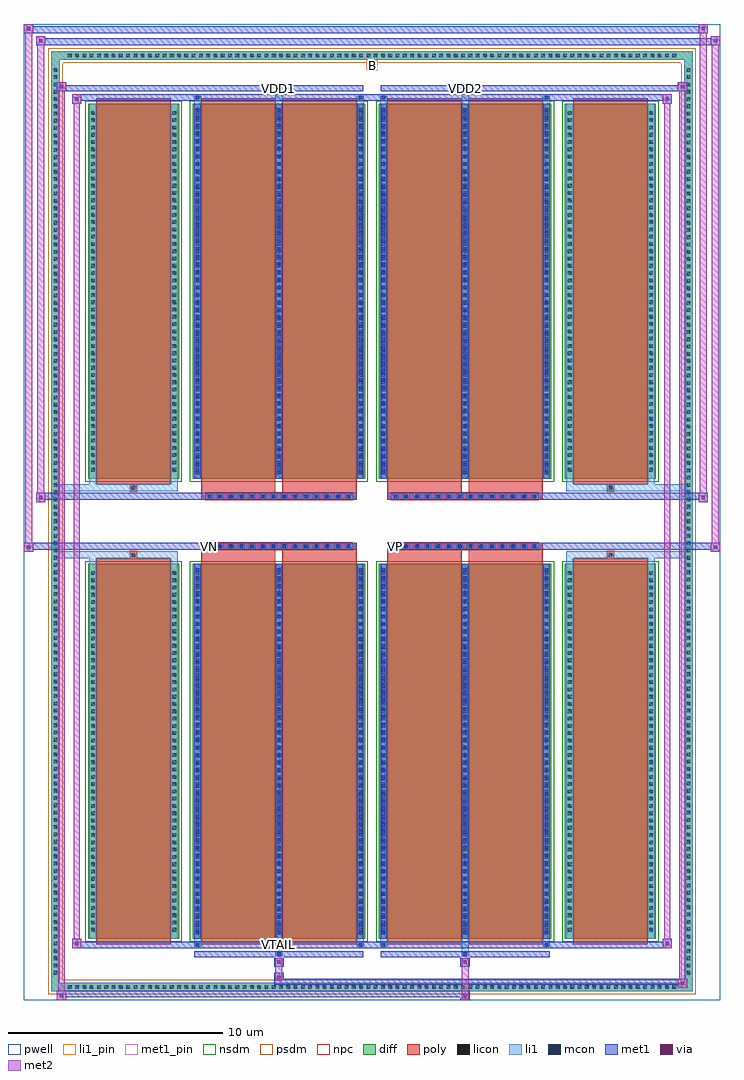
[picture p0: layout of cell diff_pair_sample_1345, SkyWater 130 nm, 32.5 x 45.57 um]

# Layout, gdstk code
import gdstk
lib = gdstk.Library(unit=1e-6, precision=5e-09)
def R(c, l, rs):  # rectangles x0, y0, x1, y1
    for r in rs: c.add(gdstk.rectangle(r[:2], r[2:], *l))
def A(c, l, x, y, w, h, nx, ny, dx, dy):  # array of equal rectangles
    R(c, l, [(x+i*dx, y+j*dy, x+i*dx+w, y+j*dy+h) for i in range(nx) for j in range(ny)])
def P(c, l, *ps):  # polygons
    for p in ps: c.add(gdstk.Polygon(p, *l))
pwell = (64, 44)
diff = (65, 20)
poly = (66, 20)
licon = (66, 44)
li1_pin = (67, 16)
li1 = (67, 20)
mcon = (67, 44)
met1_pin = (68, 16)
met1 = (68, 20)
via = (68, 44)
met2 = (69, 20)
nsdm = (93, 44)
psdm = (94, 20)
npc = (95, 20)

diff_pair_sample_1345 = lib.new_cell('diff_pair_sample_1345')
R(diff_pair_sample_1345, pwell, [(-16.25,-22.35,16.25,23.22), (-13.57,-20.54,-0.01,-0.8), (0.01,-20.54,13.57,-0.8), (-13.57,0.8,-0.01,20.54), (0.01,0.8,13.57,20.54)])
A(diff_pair_sample_1345, diff, -14.315, -21.95, 0.41, 0.41, 84, 2, 0.34, 43.49)
A(diff_pair_sample_1345, diff, -14.98, -21.285, 0.41, 0.41, 1, 125, 0, 0.34)
A(diff_pair_sample_1345, diff, 14.57, -21.285, 0.41, 0.41, 1, 125, 0, 0.34)
R(diff_pair_sample_1345, diff, [(-14.315,-21.95,14.315,-21.54), (-14.98,-21.285,-14.57,21.285), (14.57,-21.285,14.98,21.285), (-13.26,-19.495,-9.01,-1.985), (-8.37,-19.495,-0.32,-1.985), (0.32,-19.495,8.37,-1.985), (9.01,-19.495,13.26,-1.985), (-13.26,1.985,-9.01,19.495), (-8.37,1.985,-0.32,19.495), (0.32,1.985,8.37,19.495), (9.01,1.985,13.26,19.495), (-14.315,21.54,14.315,21.95)])
P(diff_pair_sample_1345, diff, [(14.98,21.95),(-14.98,21.95),(-14.98,-21.54),(-14.57,-21.54),(-14.57,21.54),(14.57,21.54),(14.57,-21.54),(-14.57,-21.54),(-14.98,-21.54),(-14.98,-21.95),(14.98,-21.95)])
A(diff_pair_sample_1345, poly, -7.76, -1.33, 0.33, 0.33, 14, 2, 0.5, 2.33)
A(diff_pair_sample_1345, poly, 0.93, -1.33, 0.33, 0.33, 14, 2, 0.5, 2.33)
R(diff_pair_sample_1345, poly, [(-12.87,-19.745,-9.4,-1.735), (-7.98,-19.745,-4.51,-1.735), (-4.18,-19.745,-0.71,-1.735), (0.71,-19.745,4.18,-1.735), (4.51,-19.745,7.98,-1.735), (9.4,-19.745,12.87,-1.735), (-11.3,-1.735,-10.97,-1.405), (-11.3,-1.735,-10.97,-1.405), (-7.98,-1.735,-4.51,-1.33), (-4.18,-1.735,-0.71,-1.33), (0.71,-1.735,4.18,-1.33), (4.51,-1.735,7.98,-1.33), (10.97,-1.735,11.3,-1.405), (10.97,-1.735,11.3,-1.405), (-7.98,-1.33,-0.71,-1), (0.71,-1.33,7.98,-1), (-7.98,1,-0.71,1.33), (0.71,1,7.98,1.33), (-7.98,1.33,-4.51,1.735), (-4.18,1.33,-0.71,1.735), (0.71,1.33,4.18,1.735), (4.51,1.33,7.98,1.735), (-11.3,1.405,-10.97,1.735), (-11.3,1.405,-10.97,1.735), (10.97,1.405,11.3,1.735), (10.97,1.405,11.3,1.735), (-12.87,1.735,-9.4,19.745), (-7.98,1.735,-4.51,19.745), (-4.18,1.735,-0.71,19.745), (0.71,1.735,4.18,19.745), (4.51,1.735,7.98,19.745), (9.4,1.735,12.87,19.745)])
A(diff_pair_sample_1345, licon, -14.195, -21.83, 0.17, 0.17, 84, 2, 0.34, 43.49)
A(diff_pair_sample_1345, licon, -14.86, -21.165, 0.17, 0.17, 1, 125, 0, 0.34)
A(diff_pair_sample_1345, licon, 14.69, -21.165, 0.17, 0.17, 1, 125, 0, 0.34)
A(diff_pair_sample_1345, licon, -13.12, -19.155, 0.17, 0.17, 1, 50, 0, 0.34)
A(diff_pair_sample_1345, licon, -9.32, -19.155, 0.17, 0.17, 1, 50, 0, 0.34)
A(diff_pair_sample_1345, licon, -8.23, -19.155, 0.17, 0.17, 3, 50, 3.8, 0.34)
A(diff_pair_sample_1345, licon, 0.46, -19.155, 0.17, 0.17, 3, 50, 3.8, 0.34)
A(diff_pair_sample_1345, licon, 9.15, -19.155, 0.17, 0.17, 1, 50, 0, 0.34)
A(diff_pair_sample_1345, licon, 12.95, -19.155, 0.17, 0.17, 1, 50, 0, 0.34)
A(diff_pair_sample_1345, licon, -7.68, -1.25, 0.17, 0.17, 14, 2, 0.5, 2.33)
A(diff_pair_sample_1345, licon, 1.01, -1.25, 0.17, 0.17, 14, 2, 0.5, 2.33)
A(diff_pair_sample_1345, licon, -13.12, 2.325, 0.17, 0.17, 1, 50, 0, 0.34)
A(diff_pair_sample_1345, licon, -9.32, 2.325, 0.17, 0.17, 1, 50, 0, 0.34)
A(diff_pair_sample_1345, licon, -8.23, 2.325, 0.17, 0.17, 3, 50, 3.8, 0.34)
A(diff_pair_sample_1345, licon, 0.46, 2.325, 0.17, 0.17, 3, 50, 3.8, 0.34)
A(diff_pair_sample_1345, licon, 9.15, 2.325, 0.17, 0.17, 1, 50, 0, 0.34)
A(diff_pair_sample_1345, licon, 12.95, 2.325, 0.17, 0.17, 1, 50, 0, 0.34)
R(diff_pair_sample_1345, licon, [(-11.22,-1.655,-11.05,-1.485), (11.05,-1.655,11.22,-1.485), (-11.22,1.485,-11.05,1.655), (11.05,1.485,11.22,1.655)])
R(diff_pair_sample_1345, li1_pin, [(-0.25,21.04,0.25,21.54)])
A(diff_pair_sample_1345, li1, -14.275, -21.91, 0.33, 0.33, 84, 2, 0.34, 43.49)
A(diff_pair_sample_1345, li1, -14.94, -21.245, 0.33, 0.33, 1, 125, 0, 0.34)
A(diff_pair_sample_1345, li1, 14.61, -21.245, 0.33, 0.33, 1, 125, 0, 0.34)
A(diff_pair_sample_1345, li1, -8.31, -19.495, 0.33, 17.51, 3, 2, 3.8, 21.48)
A(diff_pair_sample_1345, li1, 0.38, -19.495, 0.33, 17.51, 3, 2, 3.8, 21.48)
A(diff_pair_sample_1345, li1, -8.23, -19.285, 0.17, 0.17, 3, 48, 3.8, 0.36)
A(diff_pair_sample_1345, li1, -8.23, -19.285, 0.17, 17.09, 3, 2, 3.8, 21.48)
A(diff_pair_sample_1345, li1, 0.46, -19.285, 0.17, 0.17, 3, 48, 3.8, 0.36)
A(diff_pair_sample_1345, li1, 0.46, -19.285, 0.17, 17.09, 3, 2, 3.8, 21.48)
A(diff_pair_sample_1345, li1, -13.2, -19.235, 0.33, 0.33, 1, 50, 0, 0.34)
A(diff_pair_sample_1345, li1, -9.4, -19.235, 0.33, 0.33, 1, 50, 0, 0.34)
A(diff_pair_sample_1345, li1, -8.31, -19.235, 0.33, 0.33, 3, 50, 3.8, 0.34)
A(diff_pair_sample_1345, li1, 0.38, -19.235, 0.33, 0.33, 3, 50, 3.8, 0.34)
A(diff_pair_sample_1345, li1, 9.07, -19.235, 0.33, 0.33, 1, 50, 0, 0.34)
A(diff_pair_sample_1345, li1, 12.87, -19.235, 0.33, 0.33, 1, 50, 0, 0.34)
A(diff_pair_sample_1345, li1, -7.76, -1.33, 0.33, 0.33, 14, 2, 0.5, 2.33)
A(diff_pair_sample_1345, li1, 0.93, -1.33, 0.33, 0.33, 14, 2, 0.5, 2.33)
A(diff_pair_sample_1345, li1, -8.23, 2.195, 0.17, 0.17, 3, 48, 3.8, 0.36)
A(diff_pair_sample_1345, li1, 0.46, 2.195, 0.17, 0.17, 3, 48, 3.8, 0.36)
A(diff_pair_sample_1345, li1, -13.2, 2.245, 0.33, 0.33, 1, 50, 0, 0.34)
A(diff_pair_sample_1345, li1, -9.4, 2.245, 0.33, 0.33, 1, 50, 0, 0.34)
A(diff_pair_sample_1345, li1, -8.31, 2.245, 0.33, 0.33, 3, 50, 3.8, 0.34)
A(diff_pair_sample_1345, li1, 0.38, 2.245, 0.33, 0.33, 3, 50, 3.8, 0.34)
A(diff_pair_sample_1345, li1, 9.07, 2.245, 0.33, 0.33, 1, 50, 0, 0.34)
A(diff_pair_sample_1345, li1, 12.87, 2.245, 0.33, 0.33, 1, 50, 0, 0.34)
R(diff_pair_sample_1345, li1, [(-14.98,-21.95,-14.57,-21.54), (-14.98,-21.95,-14.57,-21.54), (-14.57,-21.95,14.57,-21.54), (14.57,-21.95,14.98,-21.54), (14.57,-21.95,14.98,-21.54), (-14.98,-21.54,-14.57,21.54), (14.57,-21.54,14.98,21.54), (-4.51,-20.3,-4.18,-19.495), (-4.43,-20.3,-4.26,-20.13), (4.18,-20.3,4.51,-19.495), (4.26,-20.3,4.43,-20.13), (-8.31,-19.87,-7.98,-19.495), (-8.23,-19.87,-8.06,-19.7), (-0.71,-19.87,-0.38,-19.495), (-0.63,-19.87,-0.46,-19.7), (0.38,-19.87,0.71,-19.495), (0.46,-19.87,0.63,-19.7), (7.98,-19.87,8.31,-19.495), (8.06,-19.87,8.23,-19.7), (-13.2,-19.495,-12.87,-1.985), (-9.4,-19.495,-9.07,-1.985), (9.07,-19.495,9.4,-1.985), (12.87,-19.495,13.2,-1.985), (-13.2,-1.985,-12.87,-1.405), (-9.4,-1.985,-9.07,-1.405), (9.07,-1.985,9.4,-1.405), (12.87,-1.985,13.2,-1.405), (-14.98,-1.735,-11.3,-1.405), (-13.2,-1.735,-11.3,-1.405), (-11.3,-1.735,-10.97,-1.405), (-10.97,-1.735,-9.07,-1.405), (9.07,-1.735,10.97,-1.405), (10.97,-1.735,11.3,-1.405), (10.97,-1.735,14.98,-1.405), (11.3,-1.735,13.2,-1.405), (-14.98,1.405,-11.3,1.735), (-13.2,1.405,-11.3,1.735), (-13.2,1.405,-12.87,1.985), (-11.3,1.405,-10.97,1.735), (-10.97,1.405,-9.07,1.735), (-9.4,1.405,-9.07,1.985), (9.07,1.405,10.97,1.735), (9.07,1.405,9.4,1.985), (10.97,1.405,11.3,1.735), (10.97,1.405,14.98,1.735), (11.3,1.405,13.2,1.735), (12.87,1.405,13.2,1.985), (-13.2,1.985,-12.87,19.495), (-9.4,1.985,-9.07,19.495), (9.07,1.985,9.4,19.495), (12.87,1.985,13.2,19.495), (-8.31,19.495,-7.98,19.87), (-4.51,19.495,-4.18,20.3), (-0.71,19.495,-0.38,19.87), (0.38,19.495,0.71,19.87), (4.18,19.495,4.51,20.3), (7.98,19.495,8.31,19.87), (-8.23,19.7,-8.06,19.87), (-0.63,19.7,-0.46,19.87), (0.46,19.7,0.63,19.87), (8.06,19.7,8.23,19.87), (-4.43,20.13,-4.26,20.3), (4.26,20.13,4.43,20.3), (-14.98,21.54,-14.57,21.95), (-14.98,21.54,-14.57,21.95), (-14.57,21.54,14.57,21.95), (14.57,21.54,14.98,21.95), (14.57,21.54,14.98,21.95)])
A(diff_pair_sample_1345, mcon, -8.23, -19.285, 0.17, 0.17, 3, 48, 3.8, 0.36)
A(diff_pair_sample_1345, mcon, 0.46, -19.285, 0.17, 0.17, 3, 48, 3.8, 0.36)
A(diff_pair_sample_1345, mcon, -7.68, -1.25, 0.17, 0.17, 14, 2, 0.5, 2.33)
A(diff_pair_sample_1345, mcon, 1.01, -1.25, 0.17, 0.17, 14, 2, 0.5, 2.33)
A(diff_pair_sample_1345, mcon, -8.23, 2.195, 0.17, 0.17, 3, 48, 3.8, 0.36)
A(diff_pair_sample_1345, mcon, 0.46, 2.195, 0.17, 0.17, 3, 48, 3.8, 0.36)
R(diff_pair_sample_1345, mcon, [(-4.43,-20.3,-4.26,-20.13), (4.26,-20.3,4.43,-20.13), (-8.23,-19.87,-8.06,-19.7), (-0.63,-19.87,-0.46,-19.7), (0.46,-19.87,0.63,-19.7), (8.06,-19.87,8.23,-19.7), (-8.23,19.7,-8.06,19.87), (-0.63,19.7,-0.46,19.87), (0.46,19.7,0.63,19.87), (8.06,19.7,8.23,19.87), (-4.43,20.13,-4.26,20.3), (4.26,20.13,4.43,20.3)])
R(diff_pair_sample_1345, met1_pin, [(-4.48,-19.91,-4.21,-19.64), (-7.73,-1.29,-7.46,-1.02), (0.96,-1.29,1.23,-1.02), (-4.48,20.09,-4.21,20.36), (4.21,20.09,4.48,20.36)])
A(diff_pair_sample_1345, met1, -8.29, -19.495, 0.29, 17.51, 3, 2, 3.8, 21.48)
A(diff_pair_sample_1345, met1, 0.4, -19.495, 0.29, 17.51, 3, 2, 3.8, 21.48)
A(diff_pair_sample_1345, met1, -8.29, -19.345, 0.29, 0.29, 3, 48, 3.8, 0.36)
A(diff_pair_sample_1345, met1, 0.4, -19.345, 0.29, 0.29, 3, 48, 3.8, 0.36)
A(diff_pair_sample_1345, met1, -7.74, -1.31, 0.29, 0.29, 14, 2, 0.5, 2.33)
A(diff_pair_sample_1345, met1, 0.95, -1.31, 0.29, 0.29, 14, 2, 0.5, 2.33)
A(diff_pair_sample_1345, met1, -8.29, 2.135, 0.29, 0.29, 3, 48, 3.8, 0.36)
A(diff_pair_sample_1345, met1, 0.4, 2.135, 0.29, 0.29, 3, 48, 3.8, 0.36)
R(diff_pair_sample_1345, met1, [(-14.71,-22.35,-14.28,-21.92), (4.13,-22.35,4.56,-21.92), (-14.71,-22.21,4.56,-21.92), (14.28,-21.78,14.71,-21.35), (-4.56,-21.64,14.71,-21.35), (-4.56,-21.5,-4.13,-21.07), (-4.56,-20.79,-4.13,-20.36), (4.13,-20.79,4.56,-20.36), (-8.29,-20.36,-0.4,-20.07), (-4.49,-20.36,-4.2,-20.07), (0.4,-20.36,8.29,-20.07), (4.2,-20.36,4.49,-20.07), (-14,-19.93,-13.57,-19.5), (-14,-19.93,-8.29,-19.64), (-8.29,-19.93,-8,-19.64), (-8.29,-19.93,-0.4,-19.64), (-0.69,-19.93,-0.4,-19.64), (-0.4,-19.93,0.4,-19.64), (0.4,-19.93,0.69,-19.64), (0.4,-19.93,8.29,-19.64), (8,-19.93,8.29,-19.64), (8.29,-19.93,14,-19.64), (13.57,-19.93,14,-19.5), (-16.25,-1.43,-15.82,-1), (15.82,-1.43,16.25,-1), (-16.25,-1.33,-0.71,-1), (-7.98,-1.33,-0.71,-1), (0.71,-1.33,7.98,-1), (0.71,-1.33,16.25,-1), (-15.68,0.9,-15.25,1.33), (15.25,0.9,15.68,1.33), (-15.68,1,-7.98,1.33), (-7.98,1,-0.71,1.33), (0.71,1,7.98,1.33), (7.98,1,15.68,1.33), (-14,19.5,-13.57,19.93), (13.57,19.5,14,19.93), (-14,19.64,-8.29,19.93), (-8.29,19.64,-8,19.93), (-8.29,19.64,-0.4,19.93), (-0.69,19.64,-0.4,19.93), (-0.4,19.64,0.4,19.93), (0.4,19.64,0.69,19.93), (0.4,19.64,8.29,19.93), (8,19.64,8.29,19.93), (8.29,19.64,14,19.93), (-14.71,20.07,-14.28,20.5), (-14.71,20.07,-8.29,20.36), (-8.29,20.07,-0.4,20.36), (-4.49,20.07,-4.2,20.36), (0.4,20.07,8.29,20.36), (4.2,20.07,4.49,20.36), (8.29,20.07,14.71,20.36), (14.28,20.07,14.71,20.5), (-15.68,22.22,-15.25,22.65), (-15.68,22.22,-13.57,22.55), (-13.57,22.22,13.57,22.55), (13.57,22.22,16.25,22.55), (15.82,22.22,16.25,22.65), (-16.25,22.79,-15.82,23.22), (-16.25,22.79,-13.57,23.12), (-13.57,22.79,13.57,23.12), (13.57,22.79,15.68,23.12), (15.25,22.79,15.68,23.22)])
R(diff_pair_sample_1345, via, [(-14.57,-22.21,-14.42,-22.06), (4.27,-22.21,4.42,-22.06), (14.42,-21.64,14.57,-21.49), (-4.42,-21.36,-4.27,-21.21), (-4.42,-20.65,-4.27,-20.5), (4.27,-20.65,4.42,-20.5), (-13.86,-19.79,-13.71,-19.64), (13.71,-19.79,13.86,-19.64), (-16.11,-1.29,-15.96,-1.14), (15.96,-1.29,16.11,-1.14), (-15.54,1.04,-15.39,1.19), (15.39,1.04,15.54,1.19), (-13.86,19.64,-13.71,19.79), (13.71,19.64,13.86,19.79), (-14.57,20.21,-14.42,20.36), (14.42,20.21,14.57,20.36), (-15.54,22.36,-15.39,22.51), (15.96,22.36,16.11,22.51), (-16.11,22.93,-15.96,23.08), (15.39,22.93,15.54,23.08)])
R(diff_pair_sample_1345, met2, [(-14.71,-22.35,-14.28,-21.92), (-14.64,-22.35,-14.35,20.5), (-14.35,-22.35,-14.28,-21.92), (-14.66,-22.3,-14.33,-21.97), (4.18,-22.3,4.51,-21.97), (4.18,-21.97,4.51,-20.74), (14.28,-21.78,14.71,-21.35), (14.35,-21.78,14.64,20.5), (14.64,-21.78,14.71,-21.35), (14.33,-21.73,14.66,-21.4), (-4.51,-21.45,-4.18,-21.12), (-4.51,-21.12,-4.18,-20.74), (-4.51,-20.74,-4.18,-20.41), (4.18,-20.74,4.51,-20.41), (-14,-19.93,-13.57,-19.5), (-13.93,-19.93,-13.64,19.93), (-13.64,-19.93,-13.57,-19.5), (13.57,-19.93,14,-19.5), (13.64,-19.93,13.93,19.93), (13.93,-19.93,14,-19.5), (-13.95,-19.88,-13.62,-19.55), (13.62,-19.88,13.95,-19.55), (-16.25,-1.43,-15.82,-1), (-16.2,-1.43,-15.87,23.22), (-15.87,-1.43,-15.82,-1), (15.82,-1.43,16.25,-1), (15.87,-1.43,16.2,22.65), (16.2,-1.43,16.25,-1), (-16.2,-1.38,-15.87,-1.05), (15.87,-1.38,16.2,-1.05), (-15.68,0.9,-15.25,1.33), (-15.63,0.9,-15.3,22.65), (-15.3,0.9,-15.25,1.33), (15.25,0.9,15.68,1.33), (15.3,0.9,15.63,23.22), (15.63,0.9,15.68,1.33), (-15.63,0.95,-15.3,1.28), (15.3,0.95,15.63,1.28), (-14,19.5,-13.57,19.93), (-13.64,19.5,-13.57,19.93), (13.57,19.5,14,19.93), (13.93,19.5,14,19.93), (-13.95,19.55,-13.62,19.88), (13.62,19.55,13.95,19.88), (-14.71,20.07,-14.28,20.5), (-14.35,20.07,-14.28,20.5), (14.28,20.07,14.71,20.5), (14.64,20.07,14.71,20.5), (-14.66,20.12,-14.33,20.45), (14.33,20.12,14.66,20.45), (-15.68,22.22,-15.25,22.65), (-15.3,22.22,-15.25,22.65), (15.82,22.22,16.25,22.65), (16.2,22.22,16.25,22.65), (-15.63,22.27,-15.3,22.6), (15.87,22.27,16.2,22.6), (-16.25,22.79,-15.82,23.22), (-15.87,22.79,-15.82,23.22), (15.25,22.79,15.68,23.22), (15.63,22.79,15.68,23.22), (-16.2,22.84,-15.87,23.17), (15.3,22.84,15.63,23.17)])
R(diff_pair_sample_1345, nsdm, [(-13.39,-19.625,-8.88,-1.855), (-8.5,-19.625,-0.19,-1.855), (0.19,-19.625,8.5,-1.855), (8.88,-19.625,13.39,-1.855), (-13.39,1.855,-8.88,19.625), (-8.5,1.855,-0.19,19.625), (0.19,1.855,8.5,19.625), (8.88,1.855,13.39,19.625)])
P(diff_pair_sample_1345, psdm, [(15.11,22.08),(-15.11,22.08),(-15.11,-21.41),(-14.44,-21.41),(-14.44,21.41),(14.44,21.41),(14.44,-21.41),(-14.44,-21.41),(-15.11,-21.41),(-15.11,-22.08),(15.11,-22.08)])
A(diff_pair_sample_1345, npc, -7.78, -1.35, 0.37, 0.37, 14, 2, 0.5, 2.33)
A(diff_pair_sample_1345, npc, 0.91, -1.35, 0.37, 0.37, 14, 2, 0.5, 2.33)
R(diff_pair_sample_1345, npc, [(-11.32,-1.755,-10.95,-1.385), (10.95,-1.755,11.32,-1.385), (-7.78,-1.35,-6.91,-0.98), (-7.78,-1.35,-6.91,-0.98), (-7.28,-1.35,-6.41,-0.98), (-7.28,-1.35,-6.41,-0.98), (-6.78,-1.35,-5.91,-0.98), (-6.78,-1.35,-5.91,-0.98), (-6.28,-1.35,-5.41,-0.98), (-6.28,-1.35,-5.41,-0.98), (-5.78,-1.35,-4.91,-0.98), (-5.78,-1.35,-4.91,-0.98), (-5.28,-1.35,-4.41,-0.98), (-5.28,-1.35,-4.41,-0.98), (-4.78,-1.35,-3.91,-0.98), (-4.78,-1.35,-3.91,-0.98), (-4.28,-1.35,-3.41,-0.98), (-4.28,-1.35,-3.41,-0.98), (-3.78,-1.35,-2.91,-0.98), (-3.78,-1.35,-2.91,-0.98), (-3.28,-1.35,-2.41,-0.98), (-3.28,-1.35,-2.41,-0.98), (-2.78,-1.35,-1.91,-0.98), (-2.78,-1.35,-1.91,-0.98), (-2.28,-1.35,-1.41,-0.98), (-2.28,-1.35,-1.41,-0.98), (-1.78,-1.35,-0.91,-0.98), (-1.78,-1.35,-0.91,-0.98), (0.91,-1.35,1.78,-0.98), (0.91,-1.35,1.78,-0.98), (1.41,-1.35,2.28,-0.98), (1.41,-1.35,2.28,-0.98), (1.91,-1.35,2.78,-0.98), (1.91,-1.35,2.78,-0.98), (2.41,-1.35,3.28,-0.98), (2.41,-1.35,3.28,-0.98), (2.91,-1.35,3.78,-0.98), (2.91,-1.35,3.78,-0.98), (3.41,-1.35,4.28,-0.98), (3.41,-1.35,4.28,-0.98), (3.91,-1.35,4.78,-0.98), (3.91,-1.35,4.78,-0.98), (4.41,-1.35,5.28,-0.98), (4.41,-1.35,5.28,-0.98), (4.91,-1.35,5.78,-0.98), (4.91,-1.35,5.78,-0.98), (5.41,-1.35,6.28,-0.98), (5.41,-1.35,6.28,-0.98), (5.91,-1.35,6.78,-0.98), (5.91,-1.35,6.78,-0.98), (6.41,-1.35,7.28,-0.98), (6.41,-1.35,7.28,-0.98), (6.91,-1.35,7.78,-0.98), (6.91,-1.35,7.78,-0.98), (-7.78,0.98,-6.91,1.35), (-7.78,0.98,-6.91,1.35), (-7.28,0.98,-6.41,1.35), (-7.28,0.98,-6.41,1.35), (-6.78,0.98,-5.91,1.35), (-6.78,0.98,-5.91,1.35), (-6.28,0.98,-5.41,1.35), (-6.28,0.98,-5.41,1.35), (-5.78,0.98,-4.91,1.35), (-5.78,0.98,-4.91,1.35), (-5.28,0.98,-4.41,1.35), (-5.28,0.98,-4.41,1.35), (-4.78,0.98,-3.91,1.35), (-4.78,0.98,-3.91,1.35), (-4.28,0.98,-3.41,1.35), (-4.28,0.98,-3.41,1.35), (-3.78,0.98,-2.91,1.35), (-3.78,0.98,-2.91,1.35), (-3.28,0.98,-2.41,1.35), (-3.28,0.98,-2.41,1.35), (-2.78,0.98,-1.91,1.35), (-2.78,0.98,-1.91,1.35), (-2.28,0.98,-1.41,1.35), (-2.28,0.98,-1.41,1.35), (-1.78,0.98,-0.91,1.35), (-1.78,0.98,-0.91,1.35), (0.91,0.98,1.78,1.35), (0.91,0.98,1.78,1.35), (1.41,0.98,2.28,1.35), (1.41,0.98,2.28,1.35), (1.91,0.98,2.78,1.35), (1.91,0.98,2.78,1.35), (2.41,0.98,3.28,1.35), (2.41,0.98,3.28,1.35), (2.91,0.98,3.78,1.35), (2.91,0.98,3.78,1.35), (3.41,0.98,4.28,1.35), (3.41,0.98,4.28,1.35), (3.91,0.98,4.78,1.35), (3.91,0.98,4.78,1.35), (4.41,0.98,5.28,1.35), (4.41,0.98,5.28,1.35), (4.91,0.98,5.78,1.35), (4.91,0.98,5.78,1.35), (5.41,0.98,6.28,1.35), (5.41,0.98,6.28,1.35), (5.91,0.98,6.78,1.35), (5.91,0.98,6.78,1.35), (6.41,0.98,7.28,1.35), (6.41,0.98,7.28,1.35), (6.91,0.98,7.78,1.35), (6.91,0.98,7.78,1.35), (-11.32,1.385,-10.95,1.755), (10.95,1.385,11.32,1.755)])
diff_pair_sample_1345.add(gdstk.Label('VTAIL', (-4.345,-19.775), layer=68, texttype=5))
diff_pair_sample_1345.add(gdstk.Label('VN', (-7.595,-1.155), layer=68, texttype=5))
diff_pair_sample_1345.add(gdstk.Label('VP', (1.095,-1.155), layer=68, texttype=5))
diff_pair_sample_1345.add(gdstk.Label('B', (0,21.29), layer=67, texttype=5))
diff_pair_sample_1345.add(gdstk.Label('VDD2', (4.345,20.225), layer=68, texttype=5))
diff_pair_sample_1345.add(gdstk.Label('VDD1', (-4.345,20.225), layer=68, texttype=5))

lib.write_gds('diff_pair_sample_1345.gds')
